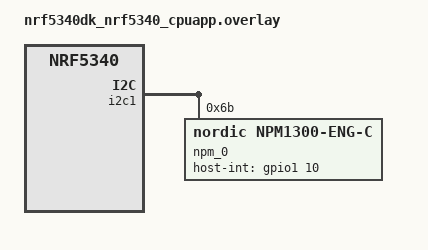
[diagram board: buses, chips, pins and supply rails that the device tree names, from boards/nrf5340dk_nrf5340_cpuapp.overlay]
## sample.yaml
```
#
# Copyright (c) 2023 Nordic Semiconductor ASA
#
# SPDX-License-Identifier: BSD-3-Clause
#

sample:
  description: VBUSIN sample
  name: VBUSIN

common:
  integration_platforms:
    - nrf5340dk/nrf5340/cpuapp
    - nrf52840dk/nrf52840
  platform_allow:
    - nrf5340dk/nrf5340/cpuapp
    - nrf52840dk/nrf52840
  tags: pmic
  timeout: 30

tests:
  sample.vbusin:
    harness: console
    harness_config:
      fixture: nPM130x_setup
      type: multi_line
      ordered: true
      regex:
        - "PMIC device OK."
        - "VBUSIN initialized."
```

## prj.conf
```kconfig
#
# Copyright (c) 2022 Nordic Semiconductor ASA
#
# SPDX-License-Identifier: BSD-3-Clause
#

CONFIG_SERIAL=y
CONFIG_CONSOLE=y
CONFIG_UART_CONSOLE=y

CONFIG_I2C=y
CONFIG_NPMX=y
CONFIG_NPMX_DEVICE_NPM1300_ENG_B=y
CONFIG_LOG=y
CONFIG_NPMX_LOG_LEVEL_DBG=y
CONFIG_SHELL=y
CONFIG_ASSERT=y

# Core Dump configuraion
CONFIG_DEBUG_COREDUMP=y
CONFIG_DEBUG_COREDUMP_BACKEND_LOGGING=y
```

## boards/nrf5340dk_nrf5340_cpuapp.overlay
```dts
/*
 * Copyright (c) 2022 Nordic Semiconductor ASA
 *
 * SPDX-License-Identifier: BSD-3-Clause
 */

&i2c1 {
	compatible = "nordic,nrf-twim";
	status = "okay";

	npm_0: npm1300@6b {
		status = "okay";
		compatible = "nordic,npm1300-eng-c";
		reg = <0x6b>;
		host-int-gpios = <&gpio1 10 (GPIO_PULL_DOWN | GPIO_ACTIVE_HIGH)>;
		pmic-int-pin = <0>;
	};
};

&i2c1_default {
	group1 {
		bias-pull-up;
	};
};
```

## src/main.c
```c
/*
 * Copyright (c) 2022 Nordic Semiconductor ASA
 *
 * SPDX-License-Identifier: BSD-3-Clause
 */

#include <zephyr/logging/log.h>
#include <zephyr/kernel.h>
#include <npmx_driver.h>
#include <npmx_vbusin.h>

#define LOG_MODULE_NAME vbusin
LOG_MODULE_REGISTER(LOG_MODULE_NAME);

/**
 * @brief Callback function to be used when VBUSIN VOLTAGE event occurs.
 *
 * @param[in] p_pm Pointer to the instance of PMIC device.
 * @param[in] type Callback type. Should be @ref NPMX_CALLBACK_TYPE_EVENT_VBUSIN_VOLTAGE.
 * @param[in] mask Received event interrupt mask.
 */
void vbusin_voltage_callback(npmx_instance_t *p_pm, npmx_callback_type_t type, uint8_t mask)
{
	/* Current limit have to be applied each time when USB is (re)connected. */
	if (mask & NPMX_EVENT_GROUP_VBUSIN_DETECTED_MASK) {
		npmx_vbusin_task_trigger(npmx_vbusin_get(p_pm, 0),
					 NPMX_VBUSIN_TASK_APPLY_CURRENT_LIMIT);
	}

	/* Call generic callback to print interrupt data. */
	p_pm->generic_cb(p_pm, type, mask);
}

/**
 * @brief Callback function to be used when VBUSIN THERMAL event occurs.
 *
 * @param[in] p_pm Pointer to the instance of PMIC device.
 * @param[in] type Callback type. Should be @ref NPMX_CALLBACK_TYPE_EVENT_VBUSIN_THERMAL_USB.
 * @param[in] mask Received event interrupt mask.
 */
void vbusin_thermal_callback(npmx_instance_t *p_pm, npmx_callback_type_t type, uint8_t mask)
{
	npmx_vbusin_cc_t cc1;
	npmx_vbusin_cc_t cc2;

	/* Get the status of CC lines. */
	if (npmx_vbusin_cc_status_get(npmx_vbusin_get(p_pm, 0), &cc1, &cc2) == NPMX_SUCCESS) {
		LOG_INF("CC1: %s", npmx_vbusin_cc_status_map_to_string(cc1));
		LOG_INF("CC2: %s", npmx_vbusin_cc_status_map_to_string(cc2));
	} else {
		LOG_ERR("Unable to read CC lines status.");
	}

	/* Call generic callback to print interrupt data. */
	p_pm->generic_cb(p_pm, type, mask);
}

int main(void)
{
	const struct device *pmic_dev = DEVICE_DT_GET(DT_NODELABEL(npm_0));

	if (!device_is_ready(pmic_dev)) {
		LOG_INF("PMIC device is not ready.");
		return 0;
	}

	LOG_INF("PMIC device OK.");

	/* Get the pointer to npmx device. */
	npmx_instance_t *npmx_instance = npmx_driver_instance_get(pmic_dev);

	/* Register callback for VBUSIN VALTAGE event. */
	npmx_core_register_cb(npmx_instance, vbusin_voltage_callback,
			      NPMX_CALLBACK_TYPE_EVENT_VBUSIN_VOLTAGE);

	/* Register callback for VBUSIN THERMAL event used for detecting CC lines status. */
	npmx_core_register_cb(npmx_instance, vbusin_thermal_callback,
			      NPMX_EVENT_GROUP_VBUSIN_THERMAL);

	/* Enable detecting connected and removed USB. */
	npmx_core_event_interrupt_enable(npmx_instance, NPMX_EVENT_GROUP_VBUSIN_VOLTAGE,
					 NPMX_EVENT_GROUP_VBUSIN_DETECTED_MASK |
						 NPMX_EVENT_GROUP_VBUSIN_REMOVED_MASK);

	/* Enable detecting CC status changed. */
	npmx_core_event_interrupt_enable(npmx_instance, NPMX_EVENT_GROUP_VBUSIN_THERMAL,
					 NPMX_EVENT_GROUP_USB_CC1_MASK |
						 NPMX_EVENT_GROUP_USB_CC2_MASK);

	/* Set the current limit for the USB port.
	 * Current limit needs to be applied after each USB (re)connection.
	 */
	npmx_vbusin_current_limit_set(npmx_vbusin_get(npmx_instance, 0),
				      NPMX_VBUSIN_CURRENT_100_MA);

	LOG_INF("VBUSIN initialized.");

	while (1) {
		k_sleep(K_FOREVER);
	}

	return 0;
}
```
